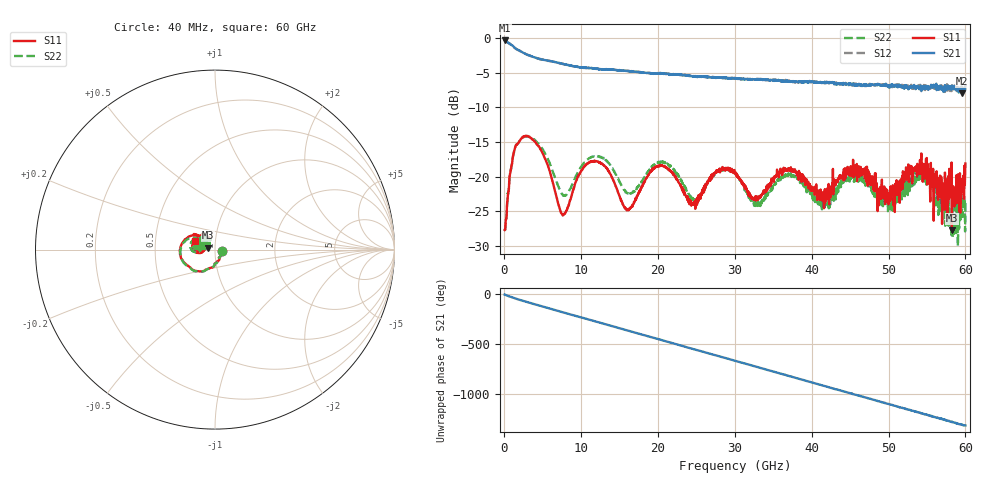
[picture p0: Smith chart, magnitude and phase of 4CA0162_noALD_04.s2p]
! File created by 'SoftPlot +Plus+ Measurement Management Software'
! SoftPlot +Plus+ Measurement Management Software
! Start 40.000000 MHz  Stop 60.000000 GHz  Points 1601
# MHZ S RI R 50
! S-Parameter data, F S11 S21 S12 S22
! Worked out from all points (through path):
!   1601 points, 40 MHz to 60 GHz, reference 50 ohm
!   highest |S21| = -0.37 dB at 40 MHz (marker M1); lowest = -8.0 dB at 59.55 GHz (marker M2)
!   group delay of S21, straight-line fit = 60.5 ps
!   lowest |S11| = -27.8 dB at 58.24 GHz (marker M3), VSWR 1.09, Z = 46.2 + j1.06 ohm
!   |S11| at or under -10 dB: start of sweep to end of sweep
!   |S22| runs from -30.0 to -14.2 dB; largest |S21 - S12| = 0.042
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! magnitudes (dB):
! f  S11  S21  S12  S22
! 40 MHz  -27.7  -0.4  -0.4  -27.6
! 1.202 GHz  -16.7  -1.3  -1.3  -16.7
! 2.476 GHz  -14.2  -2.2  -2.2  -14.3
! 4.837 GHz  -16.3  -3.1  -3.1  -15.8
! 7.61 GHz  -25.6  -3.8  -3.8  -22.7
! 10.05 GHz  -19.1  -4.3  -4.3  -18.5
! 12.93 GHz  -18.4  -4.5  -4.5  -17.3
! 16.04 GHz  -24.7  -4.8  -4.7  -22.4
! 20.05 GHz  -18.5  -5.2  -5.1  -17.9
! 24.62 GHz  -24.1  -5.5  -5.5  -23.3
! 27.51 GHz  -19.3  -5.8  -5.7  -19.6
! 30.02 GHz  -19.4  -5.8  -5.8  -19.6
! 32.68 GHz  -22.9  -6.0  -6.0  -23.6
! 36.92 GHz  -19.1  -6.3  -6.3  -19.6
! 40.03 GHz  -22.0  -6.3  -6.3  -22.7
! 42.01 GHz  -23.2  -6.4  -6.4  -23.5
! 45.57 GHz  -19.0  -6.9  -6.7  -19.9
! 50.03 GHz  -23.4  -7.1  -7.0  -23.8
! 54.38 GHz  -18.5  -7.1  -7.1  -20.4
! 58.24 GHz  -27.8  -6.9  -6.9  -27.1
! 59.55 GHz  -20.4  -8.0  -7.6  -24.8
! 60 GHz  -18.1  -6.9  -7.6  -23.7
